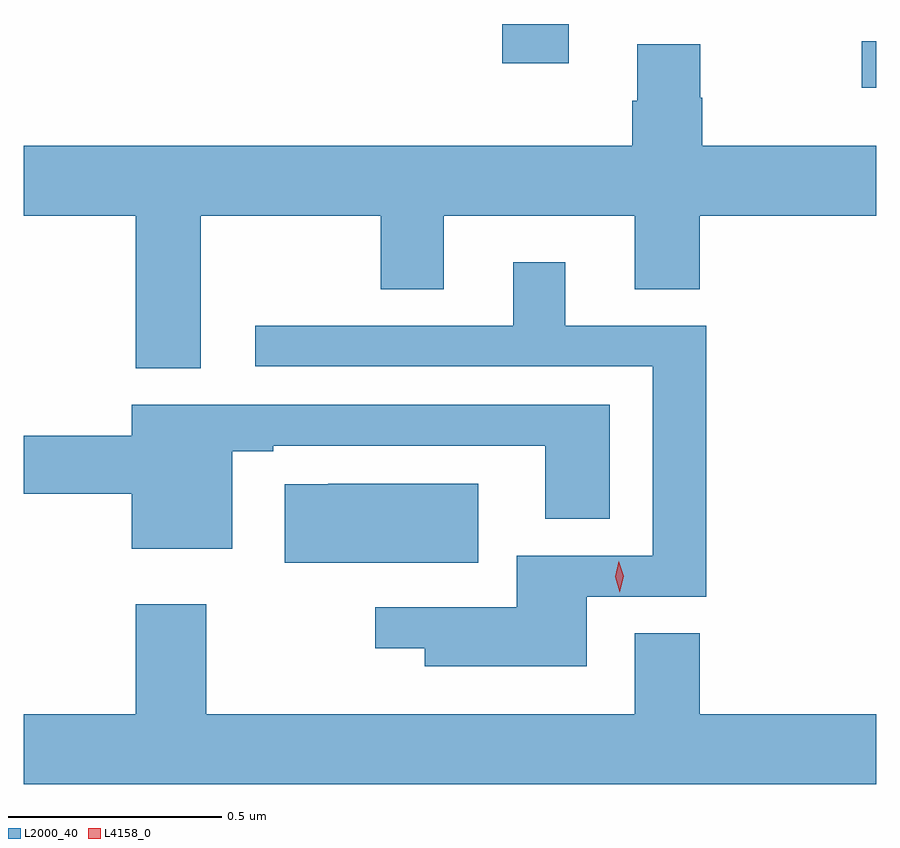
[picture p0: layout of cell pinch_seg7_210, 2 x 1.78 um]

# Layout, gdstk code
import gdstk
lib = gdstk.Library(unit=1e-6, precision=1e-09)
def R(c, l, rs):  # rectangles x0, y0, x1, y1
    for r in rs: c.add(gdstk.rectangle(r[:2], r[2:], *l))
def P(c, l, *ps):  # polygons
    for p in ps: c.add(gdstk.Polygon(p, *l))
L2000_40 = (2000, 40)
L4158_0 = (4158, 0)

pinch_seg7_210 = lib.new_cell('pinch_seg7_210')
R(pinch_seg7_210, L2000_40, [(1078.821,1007.576,1078.856,1007.686), (1077.979,1007.634,1078.135,1007.726)])
P(pinch_seg7_210, L2000_40, [(1077.271,1007.276),(1077.694,1007.276),(1077.694,1007.104),(1077.841,1007.104),(1077.841,1007.276),(1078.289,1007.276),(1078.289,1007.104),(1078.442,1007.104),(1078.442,1007.276),(1078.856,1007.276),(1078.856,1007.44),(1078.448,1007.44),(1078.448,1007.553),(1078.443,1007.553),(1078.443,1007.678),(1078.295,1007.678),(1078.295,1007.546),(1078.283,1007.546),(1078.283,1007.44),(1076.856,1007.44),(1076.856,1007.276),(1077.119,1007.276),(1077.119,1006.919),(1077.271,1006.919)],
  [(1078.177,1006.383),(1078.457,1006.383),(1078.457,1007.019),(1078.126,1007.019),(1078.126,1007.167),(1078.004,1007.167),(1078.004,1007.019),(1077.399,1007.019),(1077.399,1006.923),(1078.331,1006.923),(1078.331,1006.479),(1078.013,1006.479),(1078.013,1006.359),(1077.681,1006.359),(1077.681,1006.262),(1077.797,1006.262),(1077.797,1006.22),(1078.177,1006.22)],
  [(1077.346,1006.724),(1077.442,1006.724),(1077.442,1006.737),(1078.079,1006.737),(1078.079,1006.566),(1078.231,1006.566),(1078.231,1006.833),(1077.11,1006.833),(1077.11,1006.76),(1076.856,1006.76),(1076.856,1006.624),(1077.11,1006.624),(1077.11,1006.496),(1077.346,1006.496)],
  [(1077.922,1006.648),(1077.571,1006.648),(1077.571,1006.647),(1077.468,1006.647),(1077.468,1006.463),(1077.922,1006.463)],
  [(1078.856,1006.108),(1078.442,1006.108),(1078.442,1006.298),(1078.289,1006.298),(1078.289,1006.108),(1077.284,1006.108),(1077.284,1006.366),(1077.119,1006.366),(1077.119,1006.108),(1076.856,1006.108),(1076.856,1005.944),(1078.856,1005.944)])
P(pinch_seg7_210, L4158_0, [(1078.254,1006.394),(1078.254,1006.394),(1078.243,1006.43),(1078.252,1006.466),(1078.252,1006.466),(1078.252,1006.466),(1078.263,1006.431),(1078.254,1006.394)])

lib.write_gds('pinch_seg7_210.gds')
